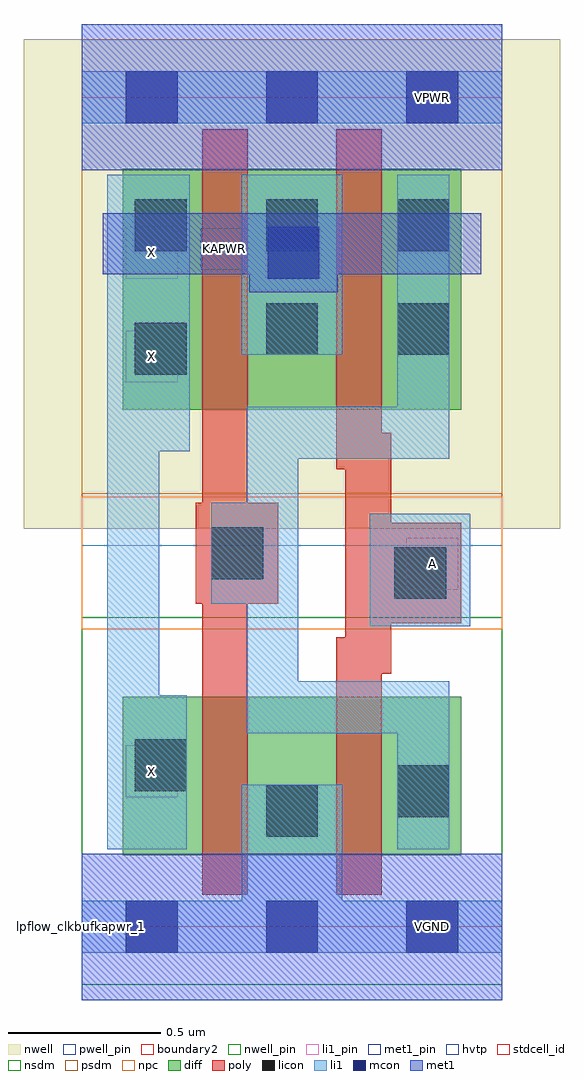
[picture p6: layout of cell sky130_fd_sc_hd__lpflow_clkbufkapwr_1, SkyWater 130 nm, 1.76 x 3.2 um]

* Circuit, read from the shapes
.subckt sky130_fd_sc_hd__lpflow_clkbufkapwr_1 A KAPWR VGND VNB VPB VPWR X
XM1 VGND n1 X VNB sky130_fd_pr__nfet_01v8 w=0.52 l=0.15
XM2 n1 A VGND VNB sky130_fd_pr__nfet_01v8 w=0.52 l=0.15
XM3 KAPWR n1 X VPB sky130_fd_pr__pfet_01v8_hvt w=0.79 l=0.15
XM4 n1 A KAPWR VPB sky130_fd_pr__pfet_01v8_hvt w=0.79 l=0.15
.ends

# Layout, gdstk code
import gdstk
lib = gdstk.Library(unit=1e-6, precision=1e-09)
def R(c, l, rs):  # rectangles x0, y0, x1, y1
    for r in rs: c.add(gdstk.rectangle(r[:2], r[2:], *l))
def A(c, l, x, y, w, h, nx, ny, dx, dy):  # array of equal rectangles
    R(c, l, [(x+i*dx, y+j*dy, x+i*dx+w, y+j*dy+h) for i in range(nx) for j in range(ny)])
def P(c, l, *ps):  # polygons
    for p in ps: c.add(gdstk.Polygon(p, *l))
nwell_pin = (64, 16)
nwell = (64, 20)
diff = (65, 20)
poly = (66, 20)
licon = (66, 44)
li1_pin = (67, 16)
li1 = (67, 20)
mcon = (67, 44)
met1_pin = (68, 16)
met1 = (68, 20)
hvtp = (78, 44)
stdcell_id = (81, 4)
nsdm = (93, 44)
psdm = (94, 20)
npc = (95, 20)
pwell_pin = (122, 16)
boundary2 = (236, 0)

sky130_fd_sc_hd__lpflow_ = lib.new_cell('sky130_fd_sc_hd__lpflow_clkbufkapwr_1')
R(sky130_fd_sc_hd__lpflow_, nwell_pin, [(1.065,2.635,1.235,2.805)])
R(sky130_fd_sc_hd__lpflow_, nwell, [(-0.19,1.305,1.57,2.91)])
R(sky130_fd_sc_hd__lpflow_, diff, [(0.135,0.235,1.245,0.755), (0.135,1.695,1.245,2.485)])
P(sky130_fd_sc_hd__lpflow_, poly, [(0.375,1.39),(0.395,1.39),(0.395,2.615),(0.545,2.615),(0.545,1.39),(0.645,1.39),(0.645,1.06),(0.545,1.06),(0.545,0.105),(0.395,0.105),(0.395,1.06),(0.375,1.06)],
  [(1.245,1.325),(1.015,1.325),(1.015,1.62),(0.985,1.62),(0.985,2.615),(0.835,2.615),(0.835,1.5),(0.865,1.5),(0.865,0.95),(0.835,0.95),(0.835,0.105),(0.985,0.105),(0.985,0.83),(1.015,0.83),(1.015,0.995),(1.245,0.995)])
A(sky130_fd_sc_hd__lpflow_, licon, 0.175, 2.215, 0.17, 0.17, 3, 1, 0.43, 0)
R(sky130_fd_sc_hd__lpflow_, licon, [(0.605,0.295,0.775,0.465), (1.035,0.36,1.205,0.53), (0.175,0.445,0.345,0.615), (1.025,1.075,1.195,1.245), (0.425,1.14,0.595,1.31), (0.175,1.81,0.345,1.98), (0.605,1.875,0.775,2.045), (1.035,1.875,1.205,2.045)])
R(sky130_fd_sc_hd__lpflow_, li1_pin, [(0.145,0.425,0.315,0.595), (1.065,1.105,1.235,1.275), (0.145,1.785,0.315,1.955), (0.145,2.125,0.315,2.295)])
R(sky130_fd_sc_hd__lpflow_, li1, [(0.945,0.985,1.275,1.355), (0.525,1.875,0.855,2.465), (0,2.635,1.38,2.805)])
P(sky130_fd_sc_hd__lpflow_, li1, [(0.085,2.465),(0.355,2.465),(0.355,1.56),(0.255,1.56),(0.255,0.76),(0.345,0.76),(0.345,0.255),(0.085,0.255)],
  [(0,0.085),(0.525,0.085),(0.525,0.465),(0.855,0.465),(0.855,0.085),(1.38,0.085),(1.38,-0.085),(0,-0.085)],
  [(0.425,1.39),(0.54,1.39),(0.54,1.705),(1.035,1.705),(1.035,2.465),(1.205,2.465),(1.205,1.535),(0.71,1.535),(0.71,0.805),(1.205,0.805),(1.205,0.255),(1.035,0.255),(1.035,0.635),(0.54,0.635),(0.54,1.06),(0.425,1.06)])
A(sky130_fd_sc_hd__lpflow_, mcon, 0.145, -0.085, 0.17, 0.17, 3, 2, 0.46, 2.72)
R(sky130_fd_sc_hd__lpflow_, mcon, [(0.61,2.125,0.78,2.295)])
R(sky130_fd_sc_hd__lpflow_, met1_pin, [(1.065,-0.085,1.235,0.085), (0.39,2.155,0.545,2.29), (1.065,2.635,1.235,2.805)])
P(sky130_fd_sc_hd__lpflow_, met1, [(1.31,2.34),(0.07,2.34),(0.07,2.14),(0.55,2.14),(0.55,2.08),(0.84,2.08),(0.84,2.14),(1.31,2.14)])
R(sky130_fd_sc_hd__lpflow_, hvtp, [(0,1.25,1.38,2.72)])
R(sky130_fd_sc_hd__lpflow_, stdcell_id, [(0,0,1.38,2.72)])
R(sky130_fd_sc_hd__lpflow_, nsdm, [(0,-0.19,1.38,1.015)])
R(sky130_fd_sc_hd__lpflow_, psdm, [(0,1.42,1.38,2.91)])
R(sky130_fd_sc_hd__lpflow_, npc, [(0,0.975,1.38,1.41)])
R(sky130_fd_sc_hd__lpflow_, pwell_pin, [(1.065,-0.085,1.235,0.085)])
R(sky130_fd_sc_hd__lpflow_, boundary2, [(0,0,1.38,2.72)])
sky130_fd_sc_hd__lpflow_.add(gdstk.FlexPath([(1.38,0),(0,0)], 0.48, ends="flush", simple_path=True, layer=68, datatype=20))  # met1
sky130_fd_sc_hd__lpflow_.add(gdstk.FlexPath([(1.38,2.72),(0,2.72)], 0.48, ends="flush", simple_path=True, layer=68, datatype=20))  # met1
sky130_fd_sc_hd__lpflow_.add(gdstk.Label('KAPWR', (0.47,2.225), layer=68, texttype=5))
sky130_fd_sc_hd__lpflow_.add(gdstk.Label('VGND', (1.15,0), layer=68, texttype=5))
sky130_fd_sc_hd__lpflow_.add(gdstk.Label('VPWR', (1.15,2.72), layer=68, texttype=5))
sky130_fd_sc_hd__lpflow_.add(gdstk.Label('X', (0.23,0.51), layer=67, texttype=5))
sky130_fd_sc_hd__lpflow_.add(gdstk.Label('X', (0.23,1.87), layer=67, texttype=5))
sky130_fd_sc_hd__lpflow_.add(gdstk.Label('X', (0.23,2.21), layer=67, texttype=5))
sky130_fd_sc_hd__lpflow_.add(gdstk.Label('A', (1.15,1.19), layer=67, texttype=5))
sky130_fd_sc_hd__lpflow_.add(gdstk.Label('VPB', (1.15,2.72), layer=64, texttype=5))
sky130_fd_sc_hd__lpflow_.add(gdstk.Label('VNB', (1.15,0), layer=64, texttype=59))
sky130_fd_sc_hd__lpflow_.add(gdstk.Label('lpflow_clkbufkapwr_1', (0,0), layer=83, texttype=44))

lib.write_gds('sky130_fd_sc_hd__lpflow_clkbufkapwr_1.gds')
